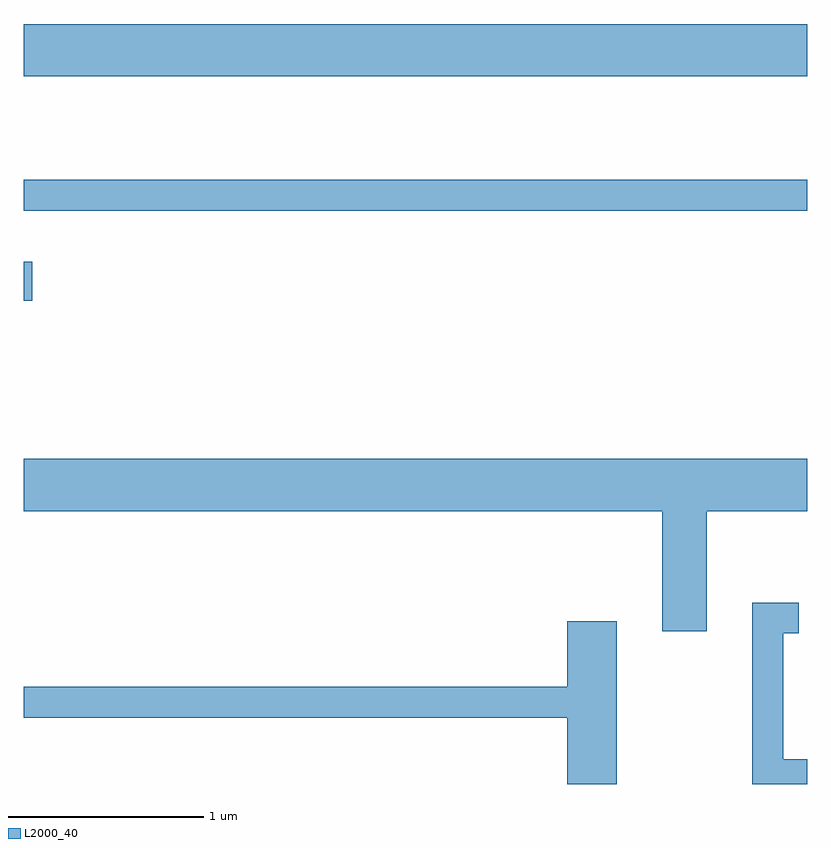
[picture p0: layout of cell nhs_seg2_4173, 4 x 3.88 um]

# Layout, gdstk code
import gdstk
lib = gdstk.Library(unit=1e-6, precision=1e-09)
def R(c, l, rs):  # rectangles x0, y0, x1, y1
    for r in rs: c.add(gdstk.rectangle(r[:2], r[2:], *l))
def P(c, l, *ps):  # polygons
    for p in ps: c.add(gdstk.Polygon(p, *l))
L2000_40 = (2000, 40)

nhs_seg2_4173 = lib.new_cell('nhs_seg2_4173')
R(nhs_seg2_4173, L2000_40, [(307.611,1058.271,307.654,1058.469), (307.611,1058.731,311.611,1058.889), (307.611,1059.416,311.611,1059.684)])
P(nhs_seg2_4173, L2000_40, [(311.099,1057.196),(311.611,1057.196),(311.611,1057.464),(307.611,1057.464),(307.611,1057.196),(310.871,1057.196),(310.871,1056.581),(311.099,1056.581)],
  [(311.611,1055.929),(311.489,1055.929),(311.489,1056.571),(311.568,1056.571),(311.568,1056.729),(311.331,1056.729),(311.331,1055.802),(311.611,1055.802)],
  [(310.639,1056.634),(310.386,1056.634),(310.386,1056.299),(307.611,1056.299),(307.611,1056.141),(310.386,1056.141),(310.386,1055.802),(310.639,1055.802)])

lib.write_gds('nhs_seg2_4173.gds')
